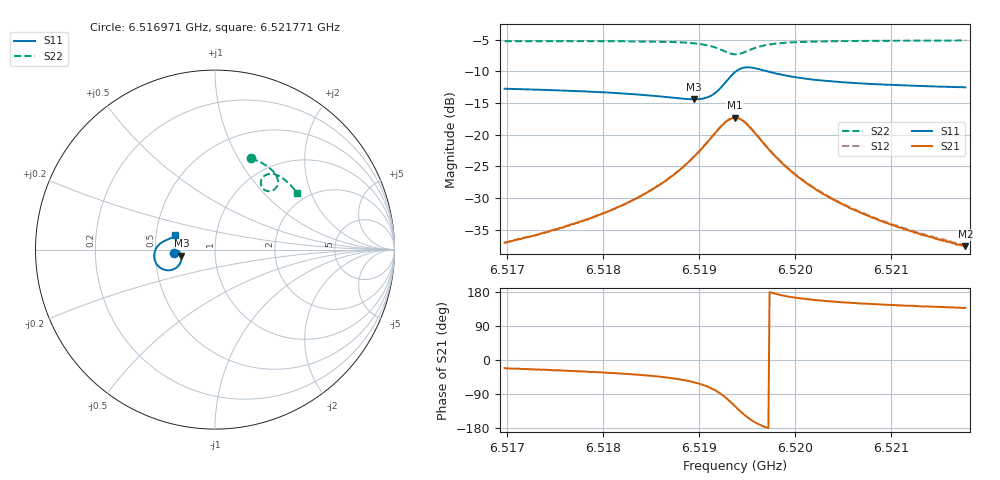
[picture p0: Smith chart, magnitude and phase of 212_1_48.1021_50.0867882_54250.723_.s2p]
#  HZ  S  RI  R  50.00
! Rohde & Schwarz Vector Network Analyzer
! Rohde-Schwarz,ZNB20-2Port,1311601062101988,3.16
! Created: UTC 12/23/2023, 3:55:50 AM
! freq[Hz]  re:S11  im:S11  re:S21  im:S21  re:S12  im:S12  re:S22  im:S22
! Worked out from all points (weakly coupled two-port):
!   401 points, 6.516971 GHz to 6.521771 GHz, reference 50 ohm
!   highest |S21| = -17.32 dB at 6.519371 GHz (marker M1); lowest = -37.6 dB at 6.521771 GHz (marker M2)
!   lowest |S11| = -14.4 dB at 6.518939 GHz (marker M3), VSWR 1.47, Z = 34.1 - j2.39 ohm
!   |S11| at or under -10 dB: start of sweep to 6.51938 GHz; 6.519715 GHz to end of sweep
!   |S22| runs from -7.3 to -5.1 dB; largest |S21 - S12| = 0.0043
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6.5169711e9  -0.2304 -0.0178  0.0131 -0.00516  0.0132 -0.00468  0.2012 0.5099
6.5172951e9  -0.2269 -0.0129  0.0146 -0.00684  0.0148 -0.00632  0.2251 0.5002
6.5177751e9  -0.2204 -0.00691  0.0179 -0.0104  0.0183 -0.00979  0.2604 0.4829
6.5182071e9  -0.2119 -0.00489  0.0225 -0.0166  0.0231 -0.0158  0.293 0.4626
6.5185791e9  -0.2011 -0.00924  0.0287 -0.0277  0.0297 -0.0269  0.3216 0.4388
6.5187711e9  -0.1939 -0.0179  0.0327 -0.0391  0.034 -0.0382  0.3366 0.4207
6.5189391e9  -0.1875 -0.0338  0.0347 -0.0566  0.0366 -0.0558  0.3478 0.3983
6.5190591e9  -0.1872 -0.0544  0.0317 -0.077  0.034 -0.0766  0.3508 0.3752
6.5191431e9  -0.1939 -0.0758  0.022 -0.0962  0.0252 -0.0963  0.3462 0.3549
6.5192751e9  -0.2362 -0.1116  -0.0208 -0.1246  -0.0174 -0.1261  0.3138 0.3267
6.5193711e9  -0.2932 -0.1081  -0.0719 -0.1156  -0.0691 -0.1186  0.2746 0.3336
6.5194311e9  -0.3228 -0.0839  -0.0957 -0.0914  -0.0937 -0.0948  0.2586 0.3542
6.5194911e9  -0.3371 -0.0522  -0.1049 -0.0622  -0.104 -0.0659  0.2556 0.3779
6.5195871e9  -0.3348 -0.00884  -0.0981 -0.0254  -0.0982 -0.0286  0.2697 0.406
6.5196951e9  -0.3185 0.0204  -0.081 -0.00317  -0.0816 -0.00557  0.2924 0.4197
6.5199111e9  -0.2891 0.0444  -0.0538 0.0114  -0.0548 0.0099  0.3296 0.4206
6.5201751e9  -0.2679 0.0546  -0.0361 0.0138  -0.0369 0.013  0.36 0.4084
6.5203791e9  -0.2574 0.0587  -0.0282 0.0135  -0.0289 0.0128  0.3778 0.3974
6.5205711e9  -0.2501 0.062  -0.023 0.0126  -0.0237 0.0122  0.3922 0.3861
6.5209791e9  -0.2386 0.0678  -0.0163 0.011  -0.0169 0.0108  0.4183 0.3622
6.5213751e9  -0.2305 0.0734  -0.0125 0.00988  -0.0128 0.00969  0.44 0.3382
6.5217712e9  -0.2237 0.0788  -0.00973 0.00889  -0.0102 0.00889  0.4594 0.3133
